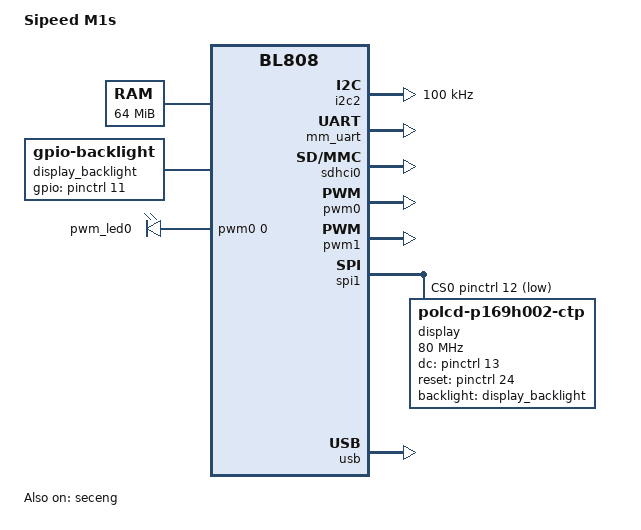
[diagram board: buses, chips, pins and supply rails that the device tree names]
// SPDX-License-Identifier: (GPL-2.0+ or MIT)

/dts-v1/;

#include "bl808.dtsi"
#include <dt-bindings/gpio/gpio.h>
#include <dt-bindings/leds/common.h>
#include <dt-bindings/pinctrl/pinctrl-bflb.h>

/ {
	model = "Sipeed M1s";
	compatible = "sipeed,m1s", "bflb,bl808";

	aliases {
		serial0 = &mm_uart;
	};

	chosen {
		stdout-path = "serial0:2000000n8";
		bootargs = "console=ttyS0,2000000 loglevel=8 earlycon=sbi root=PARTLABEL=rootfs rootwait rootfstype=ext4";
		linux,initrd-start = <0x0 0x52000000>;
		linux,initrd-end = <0x0 0x52941784>;
	};

	memory@50000000 {
		device_type = "memory";
		reg = <0x50000000 0x04000000>;
	};
	reserved-memory {
		#address-cells = <1>;
		#size-cells = <1>;
		ranges;

		m0_psram_reserved: m0_psram@53F00000 {
			reg = <0x53F00000 0x100000>;
			status = "okay";
		};
	};

	flash@2000b000 {
		compatible = "bflb,bl808-sflash";
		reg = <0x2000b000 0x1000 0x40001000 0x1000>;
		#address-cells = <1>;
		#size-cells = <1>;
	};

	leds {
        compatible = "gpio-leds";
		status = "disabled";

        led {
            gpios = <&pinctrl 8 GPIO_ACTIVE_LOW>;
        };
    };

	display_backlight: backlight {
		compatible = "gpio-backlight";
		gpios = <&pinctrl 11 GPIO_ACTIVE_HIGH>;
		default-on;
		status = "okay";
	};

	pwm-leds {
		compatible = "pwm-leds";
		pinctrl-names = "default";
		pinctrl-0 = <&pwm_led_pins>;
		status = "okay";

		led-0 {
			pwms = <&pwm0 0 500000 0>;
			active-low;
			max-brightness = <255>;
			label = "pwm_led0";
		};
	};
};

&pinctrl {
	status = "okay";

	pwm_led_pins: pwm0-grp0 {
		bflb,pin-function = <BFLB_PINMUX_FUNC_PWM0>;
		bflb,pins = <0 8 &pin_cfg_default>;
	};

	mm_uart_pins: mm-uart-grp0 {
		bflb,pin-function = <BFLB_PINMUX_FUNC_MM_UART>;
		bflb,pins = <0 16 &pin_cfg_default>,
					<0 17 &pin_cfg_default>;
	};

	display_spi_pins: display-spi-pins {
		bflb,pin-function = <BFLB_PINMUX_FUNC_MM_SPI>;
		bflb,pins = <0 19 &pin_cfg_default>, // sck
					<0 25 &pin_cfg_default>, // mosi
					<0 22 &pin_cfg_input_enable>; // miso
	};

	display_gpio_pins: display-gpio-pins {
		bflb,pin-function = <BFLB_PINMUX_FUNC_GPIO>;
		bflb,pins = <0 13 &pin_cfg_pullup>, // display dc pin
					<0 24 &pin_cfg_pullup>; // display reset pin
	};

	i2c_2_pins: i2c-pins {
		bflb,pin-function = <BFLB_PINMUX_FUNC_MM_I2C0>;
		bflb,pins = <0 6 &pin_cfg_pullup>, // scl
					<0 7 &pin_cfg_pullup>; // sda
	};
};

&seceng {
	status = "okay";
};

&i2c2 {
	status = "okay";
	pinctrl-names = "default";
	pinctrl-0 = <&i2c_2_pins>;
	clock-frequency = <100000>; /* 100kHz */
};

&mm_uart {
	status = "okay";
	pinctrl-names = "default";
	pinctrl-0 = <&mm_uart_pins>;
};

&sdhci0 {
	status = "okay";
};

&pwm0 {
	status = "okay";
};

&pwm1 {
	status = "okay";
};

&spi1 {

	status = "okay";
	num-cs = <1>;

	cs-gpios = <&pinctrl 12 GPIO_ACTIVE_LOW>;
	display@0 {
		compatible = "polcd-p169h002-ctp", "panel-mipi-dbi-spi";
		reg = <0>;
		spi-max-frequency = <80000000>;

		spi-cpha;

		dc-gpios = <&pinctrl 13 GPIO_ACTIVE_HIGH>;
		reset-gpios = <&pinctrl 24 GPIO_ACTIVE_HIGH>;
		write-only;

		backlight = <&display_backlight>;

		width-mm = <32>;
		height-mm = <27>;

		pinctrl-names = "default";
		pinctrl-0 = <&display_spi_pins>;

		panel-timing {
			hactive = <280>;
			vactive = <240>;
			hback-porch = <20>;
			vback-porch = <0>;
			clock-frequency = <0>;
			hfront-porch = <0>;
			hsync-len = <0>;
			vfront-porch = <0>;
			vsync-len = <0>;
		};
	};
};

&usb {
	status = "okay";
};
